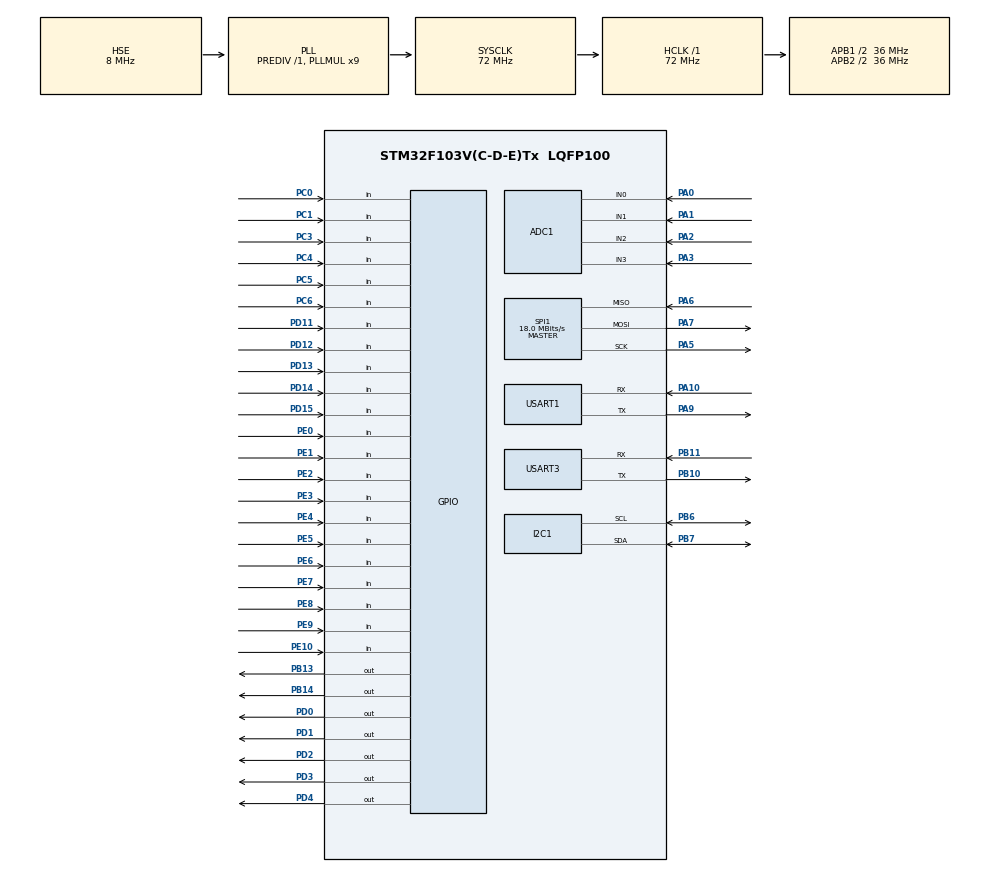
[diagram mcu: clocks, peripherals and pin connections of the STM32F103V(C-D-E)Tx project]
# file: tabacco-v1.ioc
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ADC1.Channel-0\#ChannelRegularConversion=ADC_CHANNEL_1
ADC1.ContinuousConvMode=DISABLE
ADC1.DataAlign=ADC_DATAALIGN_RIGHT
ADC1.DiscontinuousConvMode=DISABLE
ADC1.EnableAnalogWatchDog=false
ADC1.EnableRegularConversion=ENABLE
ADC1.ExternalTrigConv=ADC_SOFTWARE_START
ADC1.InjNumberOfConversion=0
ADC1.NbrOfConversion=1
ADC1.NbrOfConversionFlag=1
ADC1.Rank-0\#ChannelRegularConversion=1
ADC1.SamplingTime-0\#ChannelRegularConversion=ADC_SAMPLETIME_1CYCLE_5
ADC1.ScanConvMode=ADC_SCAN_DISABLE
ADC1.master=1
FREERTOS.Tasks01=defaultTask,0,128,StartDefaultTask,Default,NULL
Mcu.Family=STM32F1
Mcu.Name=STM32F103V(C-D-E)Tx
Mcu.Package=LQFP100
NVIC.PriorityGroup=NVIC_PRIORITYGROUP_4
NVIC.TIM1_UP_IRQn=true\:0\:0\:false\:false\:true\:false
NVIC.TimeBase=TIM1_UP_IRQn
NVIC.TimeBaseIP=TIM1
OSC_IN.Mode=HSE-External-Oscillator
OSC_IN.Signal=RCC_OSC_IN
OSC_OUT.Mode=HSE-External-Oscillator
OSC_OUT.Signal=RCC_OSC_OUT
PA0-WKUP.Signal=ADCx_IN0
PA1.Signal=ADCx_IN1
PA10.Mode=Asynchronous
PA10.Signal=USART1_RX
PA13.Mode=JTAG_5_pins
PA13.Signal=SYS_JTMS-SWDIO
PA14.Mode=JTAG_5_pins
PA14.Signal=SYS_JTCK-SWCLK
PA15.Mode=JTAG_5_pins
PA15.Signal=SYS_JTDI
PA2.Signal=ADCx_IN2
PA3.Signal=ADCx_IN3
PA5.Mode=Full_Duplex_Master
PA5.Signal=SPI1_SCK
PA6.Mode=Full_Duplex_Master
PA6.Signal=SPI1_MISO
PA7.Mode=Full_Duplex_Master
PA7.Signal=SPI1_MOSI
PA9.Mode=Asynchronous
PA9.Signal=USART1_TX
PB10.Mode=Asynchronous
PB10.Signal=USART3_TX
PB11.Mode=Asynchronous
PB11.Signal=USART3_RX
PB13.Signal=GPIO_Output
PB14.Signal=GPIO_Output
PB3.Mode=JTAG_5_pins
PB3.Signal=SYS_JTDO-TRACESWO
PB4.Mode=JTAG_5_pins
PB4.Signal=SYS_NJTRST
PB6.Mode=I2C
PB6.Signal=I2C1_SCL
PB7.Mode=I2C
PB7.Signal=I2C1_SDA
PC0.Signal=GPIO_Input
PC1.Signal=GPIO_Input
PC14-OSC32_IN.Mode=LSE-External-Oscillator
PC14-OSC32_IN.Signal=RCC_OSC32_IN
PC15-OSC32_OUT.Mode=LSE-External-Oscillator
PC15-OSC32_OUT.Signal=RCC_OSC32_OUT
PC3.Signal=GPIO_Input
PC4.Signal=GPIO_Input
PC5.Signal=GPIO_Input
PC6.Signal=GPIO_Input
PD0.Signal=GPIO_Output
PD1.Signal=GPIO_Output
PD11.Signal=GPIO_Input
PD12.Signal=GPIO_Input
PD13.Signal=GPIO_Input
PD14.Signal=GPIO_Input
PD15.Signal=GPIO_Input
PD2.Signal=GPIO_Output
PD3.Signal=GPIO_Output
PD4.Signal=GPIO_Output
PE0.Signal=GPIO_Input
PE1.Signal=GPIO_Input
PE10.Signal=GPIO_Input
PE2.Signal=GPIO_Input
PE3.Signal=GPIO_Input
PE4.Signal=GPIO_Input
PE5.Signal=GPIO_Input
PE6.Signal=GPIO_Input
PE7.Signal=GPIO_Input
PE8.Signal=GPIO_Input
PE9.Signal=GPIO_Input
ProjectManager.HeapSize=0x200
ProjectManager.StackSize=0x400
ProjectManager.TargetToolchain=EWARM
RCC.ADCPresc=RCC_ADCPCLK2_DIV4
RCC.AHBFreq_Value=72000000
RCC.APB1CLKDivider=RCC_HCLK_DIV2
RCC.APB1Freq_Value=36000000
RCC.APB1TimFreq_Value=72000000
RCC.APB2CLKDivider=RCC_HCLK_DIV2
RCC.APB2Freq_Value=36000000
RCC.APB2TimFreq_Value=72000000
RCC.HCLKFreq_Value=72000000
RCC.PLLMUL=RCC_PLL_MUL9
RCC.PLLSourceVirtual=RCC_PLLSOURCE_HSE
RCC.RTCClockSelection=RCC_RTCCLKSOURCE_LSE
RCC.SYSCLKFreq_VALUE=72000000
RCC.SYSCLKSource=RCC_SYSCLKSOURCE_PLLCLK
RCC.USBFreq_Value=72000000
SH.ADCx_IN0.0=ADC1_IN0,IN0
SH.ADCx_IN1.0=ADC1_IN1,IN1
SH.ADCx_IN2.0=ADC1_IN2,IN2
SH.ADCx_IN3.0=ADC1_IN3,IN3
SPI1.CalculateBaudRate=18.0 MBits/s
SPI1.Direction=SPI_DIRECTION_2LINES
SPI1.Mode=SPI_MODE_MASTER
SPI1.VirtualType=VM_MASTER
USART1.VirtualMode=VM_ASYNC
USART3.VirtualMode=VM_ASYNC
VP_FATFS_VS_Generic.Mode=User_defined
VP_FREERTOS_VS_ENABLE.Mode=Enabled
VP_RTC_VS_RTC_Activate.Mode=RTC_Enabled
VP_RTC_VS_RTC_Calendar.Mode=RTC_Calendar
VP_SYS_VS_tim1.Mode=TIM1
VP_WWDG_VS_WWDG.Mode=WWDG_Activate
board=tabacco-v1

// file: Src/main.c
/**
  ******************************************************************************
  * File Name          : main.c
  * Description        : Main program body
  ******************************************************************************
  * This notice applies to any and all portions of this file
  * that are not between comment pairs USER CODE BEGIN and
  * USER CODE END. Other portions of this file, whether
  * inserted by the user or by software development tools
  * are owned by their respective copyright owners.
  *
  * Copyright (c) 2017 STMicroelectronics International N.V.
  * All rights reserved.
  *
  * Redistribution and use in source and binary forms, with or without
  * modification, are permitted, provided that the following conditions are met:
  *
  * 1. Redistribution of source code must retain the above copyright notice,
  *    this list of conditions and the following disclaimer.
  * 2. Redistributions in binary form must reproduce the above copyright notice,
  *    this list of conditions and the following disclaimer in the documentation
  *    and/or other materials provided with the distribution.
  * 3. Neither the name of STMicroelectronics nor the names of other
  *    contributors to this software may be used to endorse or promote products
  *    derived from this software without specific written permission.
  * 4. This software, including modifications and/or derivative works of this
  *    software, must execute solely and exclusively on microcontroller or
  *    microprocessor devices manufactured by or for STMicroelectronics.
  * 5. Redistribution and use of this software other than as permitted under
  *    this license is void and will automatically terminate your rights under
  *    this license.
  *
  * THIS SOFTWARE IS PROVIDED BY STMICROELECTRONICS AND CONTRIBUTORS "AS IS"
  * AND ANY EXPRESS, IMPLIED OR STATUTORY WARRANTIES, INCLUDING, BUT NOT
  * LIMITED TO, THE IMPLIED WARRANTIES OF MERCHANTABILITY, FITNESS FOR A
  * PARTICULAR PURPOSE AND NON-INFRINGEMENT OF THIRD PARTY INTELLECTUAL PROPERTY
  * RIGHTS ARE DISCLAIMED TO THE FULLEST EXTENT PERMITTED BY LAW. IN NO EVENT
  * SHALL STMICROELECTRONICS OR CONTRIBUTORS BE LIABLE FOR ANY DIRECT, INDIRECT,
  * INCIDENTAL, SPECIAL, EXEMPLARY, OR CONSEQUENTIAL DAMAGES (INCLUDING, BUT NOT
  * LIMITED TO, PROCUREMENT OF SUBSTITUTE GOODS OR SERVICES; LOSS OF USE, DATA,
  * OR PROFITS; OR BUSINESS INTERRUPTION) HOWEVER CAUSED AND ON ANY THEORY OF
  * LIABILITY, WHETHER IN CONTRACT, STRICT LIABILITY, OR TORT (INCLUDING
  * NEGLIGENCE OR OTHERWISE) ARISING IN ANY WAY OUT OF THE USE OF THIS SOFTWARE,
  * EVEN IF ADVISED OF THE POSSIBILITY OF SUCH DAMAGE.
  *
  ******************************************************************************
  */
#include "main.h"
#include "stm32f1xx_hal.h"
#include "cmsis_os.h"
#include "adc.h"
#include "fatfs.h"
#include "i2c.h"
#include "rtc.h"
#include "spi.h"
#include "usart.h"
#include "wwdg.h"
#include "gpio.h"

/* USER CODE BEGIN Includes */
#include "usart.h"

/* USER CODE END Includes */

/* USER CODE BEGIN PV */
/* Private variables ---------------------------------------------------------*/

/* USER CODE END PV */

void SystemClock_Config(void);
void MX_FREERTOS_Init(void);

/* USER CODE BEGIN PFP */
/* Private function prototypes -----------------------------------------------*/

/* USER CODE END PFP */

int main(void)
{

  /* USER CODE BEGIN 1 */
  // uint16_t i;
  /* USER CODE END 1 */

  /* MCU Configuration----------------------------------------------------------*/

  /* Reset of all peripherals, Initializes the Flash interface and the Systick. */
  HAL_Init();

  /* Configure the system clock */
  SystemClock_Config();

  /* Initialize all configured peripherals */
  MX_GPIO_Init();
  MX_ADC1_Init(); // ADC1 init , 7 input
  MX_SPI1_Init();
  MX_USART1_UART_Init();
  MX_I2C1_Init();
  MX_USART3_UART_Init();
  MX_WWDG_Init();
  MX_RTC_Init();

  Start_WWDG();

  /* USER CODE BEGIN 2 */

  printf("\r\n\nHello, tabacco\r\n");
  printf("=================================\r\n");

  UART1_receive();
  UART3_receive();

  Set_LED1_Normal();

  /* USER CODE END 2 */

  /* Call init function for freertos objects (in freertos.c) */
  MX_FREERTOS_Init();

  /* Start scheduler */
  osKernelStart();

  /* We should never get here as control is now taken by the scheduler */

  /* Infinite loop */
  while (1)
  {

  }

}

/** System Clock Configuration
*/
void SystemClock_Config(void)
{

  RCC_OscInitTypeDef RCC_OscInitStruct;
  RCC_ClkInitTypeDef RCC_ClkInitStruct;
  RCC_PeriphCLKInitTypeDef PeriphClkInit;

    /**Initializes the CPU, AHB and APB busses clocks
    */
  RCC_OscInitStruct.OscillatorType = RCC_OSCILLATORTYPE_HSE|RCC_OSCILLATORTYPE_LSE;
  RCC_OscInitStruct.HSEState = RCC_HSE_ON;
  RCC_OscInitStruct.HSEPredivValue = RCC_HSE_PREDIV_DIV1;
  RCC_OscInitStruct.LSEState = RCC_LSE_ON;
  RCC_OscInitStruct.HSIState = RCC_HSI_ON;
  RCC_OscInitStruct.PLL.PLLState = RCC_PLL_ON;
  RCC_OscInitStruct.PLL.PLLSource = RCC_PLLSOURCE_HSE;
  RCC_OscInitStruct.PLL.PLLMUL = RCC_PLL_MUL9;
  if (HAL_RCC_OscConfig(&RCC_OscInitStruct) != HAL_OK)
  {
    _Error_Handler(__FILE__, __LINE__);
  }

    /**Initializes the CPU, AHB and APB busses clocks
    */
  RCC_ClkInitStruct.ClockType = RCC_CLOCKTYPE_HCLK|RCC_CLOCKTYPE_SYSCLK
                              |RCC_CLOCKTYPE_PCLK1|RCC_CLOCKTYPE_PCLK2;
  RCC_ClkInitStruct.SYSCLKSource = RCC_SYSCLKSOURCE_PLLCLK;
  RCC_ClkInitStruct.AHBCLKDivider = RCC_SYSCLK_DIV1;
  RCC_ClkInitStruct.APB1CLKDivider = RCC_HCLK_DIV2;
  RCC_ClkInitStruct.APB2CLKDivider = RCC_HCLK_DIV2;

  if (HAL_RCC_ClockConfig(&RCC_ClkInitStruct, FLASH_LATENCY_2) != HAL_OK)
  {
    _Error_Handler(__FILE__, __LINE__);
  }

  PeriphClkInit.PeriphClockSelection = RCC_PERIPHCLK_RTC|RCC_PERIPHCLK_ADC;
  PeriphClkInit.RTCClockSelection = RCC_RTCCLKSOURCE_LSE;
  PeriphClkInit.AdcClockSelection = RCC_ADCPCLK2_DIV4;
  if (HAL_RCCEx_PeriphCLKConfig(&PeriphClkInit) != HAL_OK)
  {
    _Error_Handler(__FILE__, __LINE__);
  }

    /**Configure the Systick interrupt time
    */
  HAL_SYSTICK_Config(HAL_RCC_GetHCLKFreq()/1000);

    /**Configure the Systick
    */
  HAL_SYSTICK_CLKSourceConfig(SYSTICK_CLKSOURCE_HCLK);

  /* SysTick_IRQn interrupt configuration */
  HAL_NVIC_SetPriority(SysTick_IRQn, 15, 0);
}

void HAL_TIM_PeriodElapsedCallback(TIM_HandleTypeDef *htim)
{
  if (htim->Instance == TIM1) {
    HAL_IncTick();
  }
}

void _Error_Handler(char * file, int line)
{
  /* USER CODE BEGIN Error_Handler_Debug */
  /* User can add his own implementation to report the HAL error return state */
  while(1)
  {
    printf("%s, %d line\n", file, line);
  }
  /* USER CODE END Error_Handler_Debug */
}

/************************ (C) COPYRIGHT STMicroelectronics *****END OF FILE****/

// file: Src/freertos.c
/**
  ******************************************************************************
  * File Name          : freertos.c
  * Description        : Code for freertos applications
  ******************************************************************************
  * This notice applies to any and all portions of this file
  * that are not between comment pairs USER CODE BEGIN and
  * USER CODE END. Other portions of this file, whether
  * inserted by the user or by software development tools
  * are owned by their respective copyright owners.
  *
  * Copyright (c) 2017 STMicroelectronics International N.V.
  * All rights reserved.
  *
  * Redistribution and use in source and binary forms, with or without
  * modification, are permitted, provided that the following conditions are met:
  *
  * 1. Redistribution of source code must retain the above copyright notice,
  *    this list of conditions and the following disclaimer.
  * 2. Redistributions in binary form must reproduce the above copyright notice,
  *    this list of conditions and the following disclaimer in the documentation
  *    and/or other materials provided with the distribution.
  * 3. Neither the name of STMicroelectronics nor the names of other
  *    contributors to this software may be used to endorse or promote products
  *    derived from this software without specific written permission.
  * 4. This software, including modifications and/or derivative works of this
  *    software, must execute solely and exclusively on microcontroller or
  *    microprocessor devices manufactured by or for STMicroelectronics.
  * 5. Redistribution and use of this software other than as permitted under
  *    this license is void and will automatically terminate your rights under
  *    this license.
  *
  * THIS SOFTWARE IS PROVIDED BY STMICROELECTRONICS AND CONTRIBUTORS "AS IS"
  * AND ANY EXPRESS, IMPLIED OR STATUTORY WARRANTIES, INCLUDING, BUT NOT
  * LIMITED TO, THE IMPLIED WARRANTIES OF MERCHANTABILITY, FITNESS FOR A
  * PARTICULAR PURPOSE AND NON-INFRINGEMENT OF THIRD PARTY INTELLECTUAL PROPERTY
  * RIGHTS ARE DISCLAIMED TO THE FULLEST EXTENT PERMITTED BY LAW. IN NO EVENT
  * SHALL STMICROELECTRONICS OR CONTRIBUTORS BE LIABLE FOR ANY DIRECT, INDIRECT,
  * INCIDENTAL, SPECIAL, EXEMPLARY, OR CONSEQUENTIAL DAMAGES (INCLUDING, BUT NOT
  * LIMITED TO, PROCUREMENT OF SUBSTITUTE GOODS OR SERVICES; LOSS OF USE, DATA,
  * OR PROFITS; OR BUSINESS INTERRUPTION) HOWEVER CAUSED AND ON ANY THEORY OF
  * LIABILITY, WHETHER IN CONTRACT, STRICT LIABILITY, OR TORT (INCLUDING
  * NEGLIGENCE OR OTHERWISE) ARISING IN ANY WAY OUT OF THE USE OF THIS SOFTWARE,
  * EVEN IF ADVISED OF THE POSSIBILITY OF SUCH DAMAGE.
  *
  ******************************************************************************
  */

#include "FreeRTOS.h"
#include "task.h"
#include "cmsis_os.h"

/* USER CODE BEGIN Includes */
#include "gpio.h"
#include "commthread.h"
#include "sensorthread.h"
#include "wwdg.h"
/* USER CODE END Includes */

osThreadId defaultTaskHandle;

/* USER CODE BEGIN Variables */
extern uint16_t LED1_DELAY;
extern uint32_t wwdg_life_counter ;
/* USER CODE END Variables */

void StartDefaultTask(void const * argument);

extern void MX_FATFS_Init(void);
void MX_FREERTOS_Init(void); /* (MISRA C 2004 rule 8.1) */

/* Hook prototypes */

/* Init FreeRTOS */

void MX_FREERTOS_Init(void) {

  /* Create the thread(s) */
  /* definition and creation of defaultTask */
  osThreadDef(defaultTask, StartDefaultTask, osPriorityLow, 0, 128);
  defaultTaskHandle = osThreadCreate(osThread(defaultTask), NULL);

  /* USER CODE BEGIN RTOS_THREADS */
  /* add threads, ... */
  CommThreadInit();
  SensorThreadInit();

  /* USER CODE END RTOS_THREADS */

}

/* StartDefaultTask function */
void StartDefaultTask(void const * argument)
{
  /* init code for FATFS */
  MX_FATFS_Init();

  /* USER CODE BEGIN StartDefaultTask */
  /* Infinite loop */
  for(;;)
  {
    osDelay(LED1_DELAY);
    wwdg_life_counter = 0;
    // LED1_Toggle();
    // printf("1");
  }
  /* USER CODE END StartDefaultTask */
}

/************************ (C) COPYRIGHT STMicroelectronics *****END OF FILE****/
